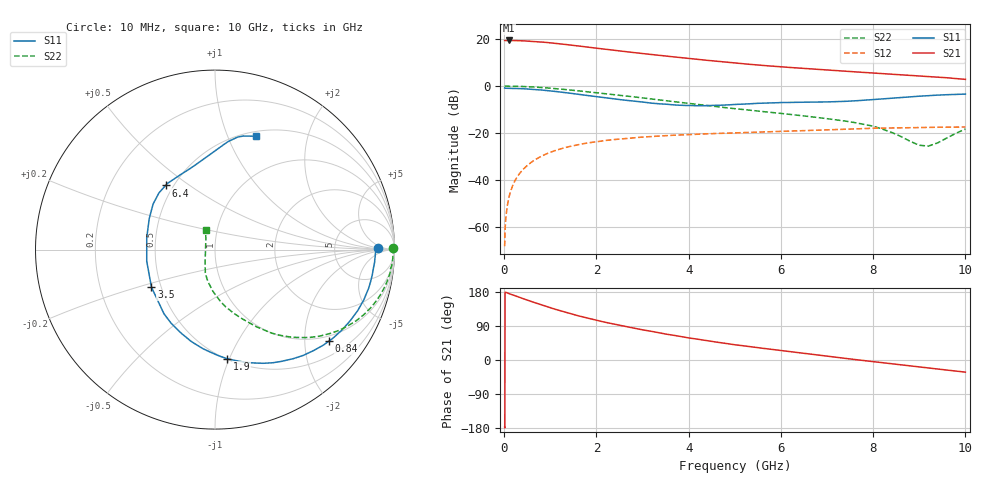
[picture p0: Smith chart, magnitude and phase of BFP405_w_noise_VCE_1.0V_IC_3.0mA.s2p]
! Infineon Technologies  Discrete & RF Semiconductors
! BFP405
! VCE =  1.0 V,  IC =  3.0 mA
! Common Emitter S-Parameters:  Jan 2016
# GHz  S  MA  R  50
!  f  S11  S21  S12  S22
! GHz  MAG  ANG  MAG  ANG  MAG  ANG  MAG  ANG
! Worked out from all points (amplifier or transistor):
!   233 points, 10 MHz to 10 GHz, reference 50 ohm
!   highest |S21| = 19.3 dB at 100 MHz (marker M1)
!   |S21| within 3 dB of that: start of sweep to 1.885 GHz
!   unconditionally stable (mu >= 1): start of sweep to 12.15 MHz; 3.871 GHz to end of sweep
!   at 200 MHz: K = 0.06, MSG = 30.4 dB, |S12| = -41.5 dB
!   at 1.74 GHz: K = 0.42, MSG = 20.5 dB, |S12| = -24.4 dB
!   at 10 GHz: K = 1.59, MAG = 5.6 dB, |S12| = -17.4 dB
!   lowest NFmin = 0.98 dB at 900 MHz
!   S11 on the Smith chart (normalised r, x): 10 MHz: 20, +2; 840 MHz: 0.86, -2.60; 1.9 GHz: 0.51, -0.98; 3.5 GHz: 0.44, -0.22; 6.4 GHz: 0.45, +0.41; 10 GHz: 0.55, +1.27
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0.01  0.906 0.5  9.206 -177.2  0.0004 5.8  0.9909 0.6
0.02  0.8945 -1.0  9.185 178.8  0.0009 98.0  0.9907 -0.3
0.05  0.8931 -2.6  9.157 178.1  0.0021 87.4  0.9922 -1.1
0.1  0.8924 -4.4  9.224 175.4  0.0042 87.3  0.9922 -2.5
0.4  0.8753 -18.6  9.083 162.5  0.0166 80.2  0.9756 -10.3
0.6  0.8514 -27.7  8.839 153.9  0.0245 75.3  0.9553 -15.3
0.84  0.8147 -38.6  8.495 144.1  0.0335 69.5  0.9224 -21.0
1.2  0.7477 -54.4  7.84 130.5  0.0456 61.5  0.8623 -28.9
1.4  0.7077 -63.0  7.454 123.4  0.0515 57.5  0.826 -32.9
1.68  0.6515 -74.6  6.912 114.3  0.0587 52.2  0.7743 -37.9
1.9  0.6112 -83.7  6.504 107.7  0.0638 48.4  0.7353 -41.4
2.2  0.5602 -96.0  5.992 99.3  0.0697 43.8  0.6839 -45.8
2.62  0.4991 -113.0  5.36 88.6  0.0769 38.1  0.6165 -51.3
3.4  0.4156 -144.9  4.421 70.9  0.0872 29.0  0.5014 -60.5
3.5  0.4113 -149.4  4.325 68.5  0.0885 28.0  0.4876 -61.8
4  0.3858 -170.4  3.839 58.3  0.0933 23.3  0.4252 -67.5
5.1  0.4084 152.5  3.007 38.8  0.1017 14.5  0.3223 -79.7
6.4  0.4511 127.6  2.393 19.1  0.1117 6.8  0.2375 -91.9
6.8  0.455 119.7  2.246 13.1  0.1154 4.4  0.2139 -96.0
8.4  0.5508 89.9  1.77 -10.0  0.1286 -7.3  0.1035 -122.1
9.2  0.6223 80.8  1.583 -20.9  0.1323 -12.8  0.0531 168.9
10  0.6718 70.1  1.379 -32.0  0.1349 -17.6  0.1219 115.6
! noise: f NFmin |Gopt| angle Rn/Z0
0.9  0.98  0.49  14  0.37
1.8  1.3  0.39  24  0.34
2.4  1.48  0.33  33  0.33
3  1.51  0.31  50  0.31
4  1.71  0.19  75  0.25
5  2.06  0.14  114  0.21
